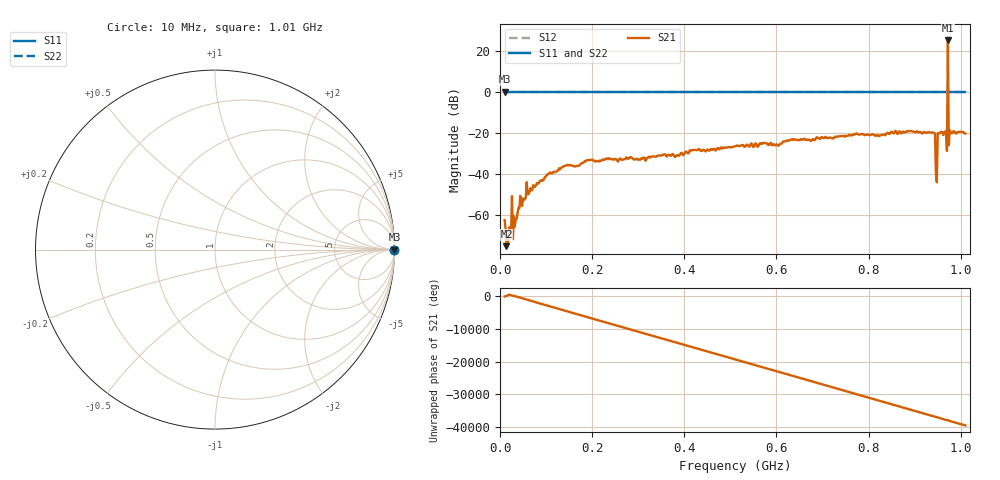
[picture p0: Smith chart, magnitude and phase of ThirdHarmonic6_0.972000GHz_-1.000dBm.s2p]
! 8/16/2025 7:23:48 AM
! C:\ANRITSUVNA\TEMP\TEMP.S2P
! CHANNEL.1
! TR.MEASUREMENT
! RAW.DATA
! RF.CORRECTION.OFF
! AVERAGING.OFF
! IF.BANDWIDTH: 5KHZ
! SWEEPTYPE:  FREQ.SWEEP(Linear)
! Reference Plane Port Info
! PORT:  PORT1  PORT2
! DISTANCE:  0  m  0  m
! TIME:  0  s  0  s
! PHASE.OFFSET:  0  deg.  0  deg.
! LOSS:  0  dB  0  dB
! REF.LOSS:  0  dB  0  dB
! REF.FREQ:  0  Hz  0  Hz
! Power Info
! POWER:  -20  dBm  -20  dBm
! EFF.POWER:  -20  dBm  -20  dBm
! SOURCE.ATTEN:  0  dB  0  dB
! TEST.ATTEN:  0  dB  0  dB
# GHZ S RI R 50.0
! FREQ.GHZ  S11RE  S11IM  S21RE  S21IM  S12RE  S12IM  S22RE  S22IM
!; PortSelection: Port_12
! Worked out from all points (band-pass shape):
!   501 points, 10 MHz to 1.01 GHz, reference 50 ohm
!   highest |S21| = 24.92 dB at 972 MHz (marker M1); lowest = -75.2 dB at 14 MHz (marker M2)
!   |S21| within 3 dB of the highest: 971.8884 MHz to 972.1176 MHz (229.2 kHz wide, 0.0236 % of centre)
!   lowest |S11| = 0.0 dB at 10 MHz (marker M3)
!   |S11| at or under -10 dB: nowhere
!   |S22| runs from 0.0 to 0.0 dB; largest |S21 - S12| = 17
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0.01  1 0  -0.000458 -0.000593  1 0  1 0
0.014  1 0  8.57e-05 0.00015  1 0  1 0
0.018  1 0  0.000206 -8.38e-05  1 0  1 0
0.022  1 0  0.000374 -9.02e-05  1 0  1 0
0.062  1 0  -0.00281 -0.00152  1 0  1 0
0.106  1 0  -0.00786 -0.00631  1 0  1 0
0.178  1 0  -0.0182 -0.000944  1 0  1 0
0.344  1 0  0.0262 -0.00957  1 0  1 0
0.51  1 0  -0.0404 0.0232  1 0  1 0
0.678  1 0  -0.0474 -0.0504  1 0  1 0
0.844  1 0  0.0927 0.0136  1 0  1 0
0.94  1 0  0.00566 0.1003  1 0  1 0
0.944  1 0  0.0311 -0.0921  1 0  1 0
0.948  1 0  -0.00529 -0.00328  1 0  1 0
0.95  1 0  0.0716 0.0657  1 0  1 0
0.954  1 0  -0.0385 -0.0891  1 0  1 0
0.966  1 0  -0.0572 0.09  1 0  1 0
0.968  1 0  0.085 0.0684  1 0  1 0
0.972  1 0  16.58 -5.979  1 0  1 0
0.976  1 0  0.0314 0.1107  1 0  1 0
0.978  1 0  0.1029 -0.0182  1 0  1 0
1.01  1 0  -0.0763 0.0569  1 0  1 0
